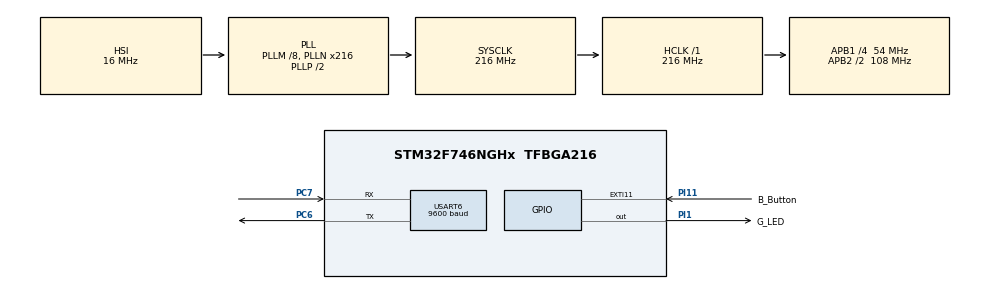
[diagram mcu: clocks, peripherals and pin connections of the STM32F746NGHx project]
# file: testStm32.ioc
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Mcu.Family=STM32F7
RCC.CortexFreq_Value=216000000
CORTEX_M7.PREFETCH_ENABLE=1
VP_RTC_VS_RTC_Activate.Mode=RTC_Enabled
RCC.SYSCLKSource=RCC_SYSCLKSOURCE_PLLCLK
ProjectManager.StackSize=0x16000
PH0/OSC_IN.Mode=HSE-External-Oscillator
RCC.HCLKFreq_Value=216000000
RCC.APB2TimFreq_Value=216000000
PC7.Signal=USART6_RX
PH1/OSC_OUT.Signal=RCC_OSC_OUT
USART6.VirtualMode-Asynchronous=VM_ASYNC
RCC.AHBFreq_Value=216000000
NVIC.EXTI15_10_IRQn=true\:0\:0\:false\:false\:true\:true\:true
RCC.HSE_VALUE=25000000
VP_TIM1_VS_ControllerModeClock.Mode=Clock Mode
PI1.GPIO_PuPd=GPIO_PULLUP
PA14.Mode=Serial_Wire
PB7.Signal=USART1_RX
PH1/OSC_OUT.Mode=HSE-External-Oscillator
Mcu.Package=TFBGA216
PI11.GPIO_ModeDefaultEXTI=GPIO_MODE_IT_FALLING
USART6.BaudRate=9600
RCC.APB2CLKDivider=RCC_HCLK_DIV2
RCC.APB1TimFreq_Value=108000000
PI11.Signal=GPXTI11
CORTEX_M7.CPU_ICache=Enabled
PC6.Signal=USART6_TX
RCC.APB1CLKDivider=RCC_HCLK_DIV4
NVIC.USART6_IRQn=true\:0\:0\:false\:false\:true\:true\:true
PA13.Signal=SYS_JTMS-SWDIO
ProjectManager.TargetToolchain=STM32CubeIDE
CORTEX_M7.ART_ACCLERATOR_ENABLE=1
PC6.Mode=Asynchronous
PA9.Signal=USART1_TX
VP_TIM1_VS_ClockSourceITR.Mode=TriggerSource_ITR0
RCC.USBFreq_Value=216000000
RCC.LSE_VALUE=32768
board=custom
RCC.VCOOutputFreq_Value=432000000
PH0/OSC_IN.Signal=RCC_OSC_IN
RCC.APB2Freq_Value=108000000
PI1.Signal=GPIO_Output
PA13.Mode=Serial_Wire
Mcu.Name=STM32F746NGHx
RCC.SYSCLKFreq_VALUE=216000000
PA14.Signal=SYS_JTCK-SWCLK
ProjectManager.HeapSize=0x16000
RCC.HSI_VALUE=16000000
VP_RTC_VS_RTC_WakeUp_intern.Mode=WakeUp
NVIC.PriorityGroup=NVIC_PRIORITYGROUP_4
RCC.PLLM=8
RCC.PLLN=216
PI11.GPIO_Label=B_Button
CORTEX_M7.CPU_DCache=Enabled
PC7.Mode=Asynchronous
RCC.APB1Freq_Value=54000000
VP_CRC_VS_CRC.Mode=CRC_Activate
PI1.GPIO_Label=G_LED

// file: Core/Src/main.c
/* USER CODE BEGIN Header */
/**
 ******************************************************************************
 * @file           : main.c
 * @brief          : Main program body
 ******************************************************************************
 * @attention
 *
 * <h2><center>&copy; Copyright (c) 2021 STMicroelectronics.
 * All rights reserved.</center></h2>
 *
 * This software component is licensed by ST under BSD 3-Clause license,
 * the "License"; You may not use this file except in compliance with the
 * License. You may obtain a copy of the License at:
 *                        opensource.org/licenses/BSD-3-Clause
 *
 ******************************************************************************
 */
/* USER CODE END Header */
#include "main.h"

/* USER CODE BEGIN Includes */
#include <stdio.h>
/* USER CODE END Includes */

CRC_HandleTypeDef hcrc;

RTC_HandleTypeDef hrtc;

TIM_HandleTypeDef htim1;

UART_HandleTypeDef huart6;

void SystemClock_Config(void);
static void MX_GPIO_Init(void);
static void MX_CRC_Init(void);
static void MX_RTC_Init(void);
static void MX_TIM1_Init(void);
static void MX_USART6_UART_Init(void);

/* USER CODE BEGIN 0 */

uint8_t newLine[] = "\r\n"; // enter
uint8_t start_msg[] = "Start Project of STM32F746NG Discovery Board \r\n";
uint8_t str_tx_intr[] = "str_tx_intr_msg \r\n" ;

uint8_t str_recv[] = "USART receive from COM \r\n"; // Uart msg received by computer

int i_TX;  // index for transmission

uint8_t RX_buf[3];  // RX buffer

uint8_t rx_data;

// UART Data read interrupt 발생 시 호출되는 Callback 함수.
void HAL_UART_RxCpltCallback(UART_HandleTypeDef *huart) {
	if (huart->Instance == USART6) {
		// USART로 데이터 받기
		HAL_UART_Receive_IT(&huart6, &rx_data, 1);

		// USART로 받은 data를 그대로 다시 전송
		HAL_UART_Transmit(&huart6, &rx_data, 1, 10);
	}
}

// printf() 사용 시 호출되는 함수로서 UART와 연결을 위한 부분
int _write(int file, char *p, int len) {
	HAL_UART_Transmit(&huart6, p, len, 10);
	return len;
}

/* USER CODE END 0 */

int main(void) {
	/* USER CODE BEGIN 1 */

	int i;

	/* USER CODE END 1 */

	/* Enable I-Cache---------------------------------------------------------*/
	SCB_EnableICache();

	/* Enable D-Cache---------------------------------------------------------*/
	SCB_EnableDCache();

	/* MCU Configuration--------------------------------------------------------*/

	/* Reset of all peripherals, Initializes the Flash interface and the Systick. */
	HAL_Init();

	/* Configure the system clock */
	SystemClock_Config();

	/* Initialize all configured peripherals */
	MX_GPIO_Init();
	MX_CRC_Init();
	MX_RTC_Init();
	MX_TIM1_Init();
	MX_USART6_UART_Init();
	/* USER CODE BEGIN 2 */

	// Transmit by direct register control
	for (i = 'a'; i <= 'z'; i++) {
		USART6->TDR = i;    // Transmit one character
		while (!(USART6->ISR & USART_ISR_TXE_Msk)); // if TXE(Transmit Data Register Empty) bit is 1
	}

	HAL_UART_Transmit(&huart6, newLine, 2, 100);  // next line

	// Transmit by HAL function

	HAL_UART_Transmit(&huart6, start_msg, strlen(start_msg), 100);

	USART6->ICR = USART_ICR_TCCF_Msk;  // Clear TC bit

	i_TX = -1;  // Inhibit transmission

	// Interrupt enable: RXNE(Received data register not empty), TC(Transmission complete)
	USART6->ISR |= USART_ISR_RXNE_Msk;
	USART6->CR1 |= (USART_CR1_TCIE_Msk | USART_CR1_RXNEIE_Msk);

	// Transmit str3[0], and TC interrupt will continue to transmit str3[1], str3[2], ...

	i_TX = 0;

	USART6->TDR = str_tx_intr[0];

	HAL_Delay(100);

	i_TX = 0;

	USART6->CR1 |= USART_CR1_TCIE_Msk; // Set TCIE(TC interrupt enable) bit again

	USART6->TDR = str_tx_intr[0];

	HAL_Delay(100);

	HAL_UART_Transmit(&huart6, newLine, 2, 100);  // next line

	/* USER CODE END 2 */

	/* Infinite loop */
	/* USER CODE BEGIN WHILE */
	while (1) {
		HAL_Delay(1000);
		/* USER CODE END WHILE */

	}
}

void SystemClock_Config(void) {
	RCC_OscInitTypeDef RCC_OscInitStruct = { 0 };
	RCC_ClkInitTypeDef RCC_ClkInitStruct = { 0 };
	RCC_PeriphCLKInitTypeDef PeriphClkInitStruct = { 0 };

	/** Configure the main internal regulator output voltage
	 */
	__HAL_RCC_PWR_CLK_ENABLE();
	__HAL_PWR_VOLTAGESCALING_CONFIG(PWR_REGULATOR_VOLTAGE_SCALE1);
	/** Initializes the RCC Oscillators according to the specified parameters
	 * in the RCC_OscInitTypeDef structure.
	 */
	RCC_OscInitStruct.OscillatorType = RCC_OSCILLATORTYPE_HSI
			| RCC_OSCILLATORTYPE_LSI;
	RCC_OscInitStruct.HSIState = RCC_HSI_ON;
	RCC_OscInitStruct.HSICalibrationValue = RCC_HSICALIBRATION_DEFAULT;
	RCC_OscInitStruct.LSIState = RCC_LSI_ON;
	RCC_OscInitStruct.PLL.PLLState = RCC_PLL_ON;
	RCC_OscInitStruct.PLL.PLLSource = RCC_PLLSOURCE_HSI;
	RCC_OscInitStruct.PLL.PLLM = 8;
	RCC_OscInitStruct.PLL.PLLN = 216;
	RCC_OscInitStruct.PLL.PLLP = RCC_PLLP_DIV2;
	RCC_OscInitStruct.PLL.PLLQ = 2;
	if (HAL_RCC_OscConfig(&RCC_OscInitStruct) != HAL_OK) {
		Error_Handler();
	}
	/** Activate the Over-Drive mode
	 */
	if (HAL_PWREx_EnableOverDrive() != HAL_OK) {
		Error_Handler();
	}
	/** Initializes the CPU, AHB and APB buses clocks
	 */
	RCC_ClkInitStruct.ClockType = RCC_CLOCKTYPE_HCLK | RCC_CLOCKTYPE_SYSCLK
			| RCC_CLOCKTYPE_PCLK1 | RCC_CLOCKTYPE_PCLK2;
	RCC_ClkInitStruct.SYSCLKSource = RCC_SYSCLKSOURCE_PLLCLK;
	RCC_ClkInitStruct.AHBCLKDivider = RCC_SYSCLK_DIV1;
	RCC_ClkInitStruct.APB1CLKDivider = RCC_HCLK_DIV4;
	RCC_ClkInitStruct.APB2CLKDivider = RCC_HCLK_DIV2;

	if (HAL_RCC_ClockConfig(&RCC_ClkInitStruct, FLASH_LATENCY_7) != HAL_OK) {
		Error_Handler();
	}
	PeriphClkInitStruct.PeriphClockSelection = RCC_PERIPHCLK_RTC
			| RCC_PERIPHCLK_USART6;
	PeriphClkInitStruct.RTCClockSelection = RCC_RTCCLKSOURCE_LSI;
	PeriphClkInitStruct.Usart6ClockSelection = RCC_USART6CLKSOURCE_PCLK2;
	if (HAL_RCCEx_PeriphCLKConfig(&PeriphClkInitStruct) != HAL_OK) {
		Error_Handler();
	}
}

static void MX_CRC_Init(void) {

	hcrc.Instance = CRC;
	hcrc.Init.DefaultPolynomialUse = DEFAULT_POLYNOMIAL_ENABLE;
	hcrc.Init.DefaultInitValueUse = DEFAULT_INIT_VALUE_ENABLE;
	hcrc.Init.InputDataInversionMode = CRC_INPUTDATA_INVERSION_NONE;
	hcrc.Init.OutputDataInversionMode = CRC_OUTPUTDATA_INVERSION_DISABLE;
	hcrc.InputDataFormat = CRC_INPUTDATA_FORMAT_BYTES;
	if (HAL_CRC_Init(&hcrc) != HAL_OK) {
		Error_Handler();
	}

}

static void MX_RTC_Init(void) {

	/** Initialize RTC Only
	 */
	hrtc.Instance = RTC;
	hrtc.Init.HourFormat = RTC_HOURFORMAT_24;
	hrtc.Init.AsynchPrediv = 127;
	hrtc.Init.SynchPrediv = 255;
	hrtc.Init.OutPut = RTC_OUTPUT_DISABLE;
	hrtc.Init.OutPutPolarity = RTC_OUTPUT_POLARITY_HIGH;
	hrtc.Init.OutPutType = RTC_OUTPUT_TYPE_OPENDRAIN;
	if (HAL_RTC_Init(&hrtc) != HAL_OK) {
		Error_Handler();
	}
	/** Enable the WakeUp
	 */
	if (HAL_RTCEx_SetWakeUpTimer(&hrtc, 0, RTC_WAKEUPCLOCK_RTCCLK_DIV16)
			!= HAL_OK) {
		Error_Handler();
	}

}

static void MX_TIM1_Init(void) {

	TIM_SlaveConfigTypeDef sSlaveConfig = { 0 };
	TIM_MasterConfigTypeDef sMasterConfig = { 0 };

	htim1.Instance = TIM1;
	htim1.Init.Prescaler = 0;
	htim1.Init.CounterMode = TIM_COUNTERMODE_UP;
	htim1.Init.Period = 65535;
	htim1.Init.ClockDivision = TIM_CLOCKDIVISION_DIV1;
	htim1.Init.RepetitionCounter = 0;
	htim1.Init.AutoReloadPreload = TIM_AUTORELOAD_PRELOAD_DISABLE;
	if (HAL_TIM_Base_Init(&htim1) != HAL_OK) {
		Error_Handler();
	}
	sSlaveConfig.SlaveMode = TIM_SLAVEMODE_EXTERNAL1;
	sSlaveConfig.InputTrigger = TIM_TS_ITR0;
	if (HAL_TIM_SlaveConfigSynchro(&htim1, &sSlaveConfig) != HAL_OK) {
		Error_Handler();
	}
	sMasterConfig.MasterOutputTrigger = TIM_TRGO_RESET;
	sMasterConfig.MasterOutputTrigger2 = TIM_TRGO2_RESET;
	sMasterConfig.MasterSlaveMode = TIM_MASTERSLAVEMODE_DISABLE;
	if (HAL_TIMEx_MasterConfigSynchronization(&htim1, &sMasterConfig)
			!= HAL_OK) {
		Error_Handler();
	}

}

static void MX_USART6_UART_Init(void) {

	huart6.Instance = USART6;
	huart6.Init.BaudRate = 115200;
	huart6.Init.WordLength = UART_WORDLENGTH_8B;
	huart6.Init.StopBits = UART_STOPBITS_1;
	huart6.Init.Parity = UART_PARITY_NONE;
	huart6.Init.Mode = UART_MODE_TX_RX;
	huart6.Init.HwFlowCtl = UART_HWCONTROL_NONE;
	huart6.Init.OverSampling = UART_OVERSAMPLING_16;
	huart6.Init.OneBitSampling = UART_ONE_BIT_SAMPLE_DISABLE;
	huart6.AdvancedInit.AdvFeatureInit = UART_ADVFEATURE_NO_INIT;
	if (HAL_UART_Init(&huart6) != HAL_OK) {
		Error_Handler();
	}

}

static void MX_GPIO_Init(void) {
	GPIO_InitTypeDef GPIO_InitStruct = { 0 };

	/* GPIO Ports Clock Enable */
	__HAL_RCC_GPIOA_CLK_ENABLE();
	__HAL_RCC_GPIOB_CLK_ENABLE();
	__HAL_RCC_GPIOI_CLK_ENABLE();
	__HAL_RCC_GPIOH_CLK_ENABLE();
	__HAL_RCC_GPIOC_CLK_ENABLE();

	/*Configure GPIO pin Output Level */
	HAL_GPIO_WritePin(G_LED_GPIO_Port, G_LED_Pin, GPIO_PIN_RESET);

	/*Configure GPIO pin : PB7 */
	GPIO_InitStruct.Pin = GPIO_PIN_7;
	GPIO_InitStruct.Mode = GPIO_MODE_AF_PP;
	GPIO_InitStruct.Pull = GPIO_NOPULL;
	GPIO_InitStruct.Speed = GPIO_SPEED_FREQ_VERY_HIGH;
	GPIO_InitStruct.Alternate = GPIO_AF7_USART1;
	HAL_GPIO_Init(GPIOB, &GPIO_InitStruct);

	/*Configure GPIO pin : G_LED_Pin */
	GPIO_InitStruct.Pin = G_LED_Pin;
	GPIO_InitStruct.Mode = GPIO_MODE_OUTPUT_PP;
	GPIO_InitStruct.Pull = GPIO_PULLUP;
	GPIO_InitStruct.Speed = GPIO_SPEED_FREQ_LOW;
	HAL_GPIO_Init(G_LED_GPIO_Port, &GPIO_InitStruct);

	/*Configure GPIO pin : PA9 */
	GPIO_InitStruct.Pin = GPIO_PIN_9;
	GPIO_InitStruct.Mode = GPIO_MODE_AF_PP;
	GPIO_InitStruct.Pull = GPIO_NOPULL;
	GPIO_InitStruct.Speed = GPIO_SPEED_FREQ_VERY_HIGH;
	GPIO_InitStruct.Alternate = GPIO_AF7_USART1;
	HAL_GPIO_Init(GPIOA, &GPIO_InitStruct);

	/*Configure GPIO pin : B_Button_Pin */
	GPIO_InitStruct.Pin = B_Button_Pin;
	GPIO_InitStruct.Mode = GPIO_MODE_IT_FALLING;
	GPIO_InitStruct.Pull = GPIO_NOPULL;
	HAL_GPIO_Init(B_Button_GPIO_Port, &GPIO_InitStruct);

	/* EXTI interrupt init*/
	HAL_NVIC_SetPriority(EXTI15_10_IRQn, 0, 0);
	HAL_NVIC_EnableIRQ(EXTI15_10_IRQn);

}

/* USER CODE BEGIN 4 */
void HAL_GPIO_EXTI_Callback(uint16_t GPIO_Pin) {
	if (GPIO_Pin == B_Button_Pin) {
		HAL_GPIO_TogglePin( G_LED_GPIO_Port, G_LED_Pin);
		printf("butt click\r\n");
	} else {
		//	_NOP () ;
	}
}

/*
 void USART1_IRQHandler(void)
 {
 static uint16_t cnt = 0;
 static uint8_t rx_buf[100] = { 0, };
 uint8_t receive = (uint8_t) USART1->RDR;
 if ((receive == '\r') || (receive == '\n')) {
 rx_buf[cnt++] = receive;
 if (receive == '\r')
 rx_buf[cnt++] = '\n';
 rx_buf[cnt++] = 0;
 cnt = 0;
 if (strcmp("on\r\n", (char*) rx_buf) == 0)
 HAL_GPIO_WritePin(G_LED_GPIO_Port, G_LED_Pin, SET);
 else if (strcmp("off\r\n", (char*) rx_buf) == 0)
 HAL_GPIO_WritePin(G_LED_GPIO_Port, G_LED_Pin, RESET);
 } else {
 if (cnt < 100)
 rx_buf[cnt++] = receive;
 }
 return;
 HAL_UART_IRQHandler(&huart1);
 }
 */

/* USER CODE END 4 */

void Error_Handler(void) {
	__disable_irq();
	while (1) {
	}
}

/************************ (C) COPYRIGHT STMicroelectronics *****END OF FILE****/
